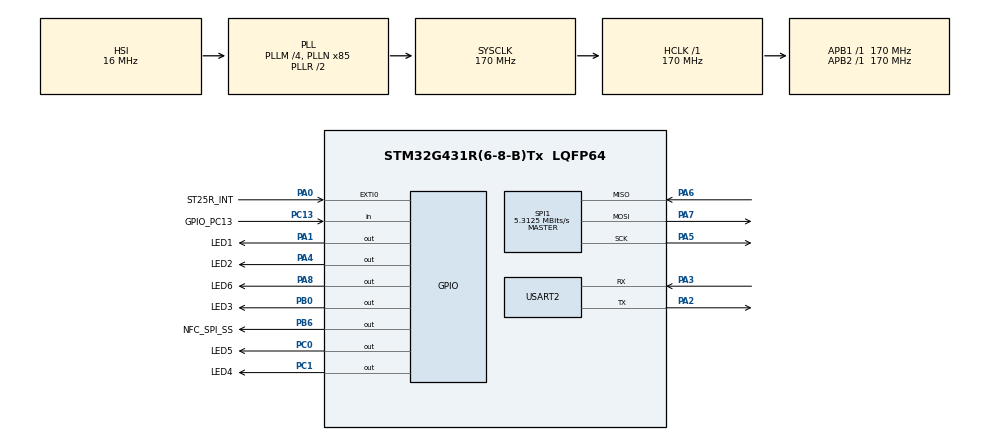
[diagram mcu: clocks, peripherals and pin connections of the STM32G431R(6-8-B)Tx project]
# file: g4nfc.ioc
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Mcu.Family=STM32G4
Mcu.Name=STM32G431R(6-8-B)Tx
Mcu.Package=LQFP64
NVIC.EXTI0_IRQn=true\:0\:0\:false\:false\:true\:true\:true
NVIC.PriorityGroup=NVIC_PRIORITYGROUP_4
NVIC.SPI1_IRQn=true\:0\:0\:false\:false\:true\:true\:true
PA0.GPIO_Label=ST25R_INT
PA0.GPIO_ModeDefaultEXTI=GPIO_MODE_IT_RISING
PA0.GPIO_PuPd=GPIO_PULLDOWN
PA0.Signal=GPXTI0
PA1.GPIO_Label=LED1
PA1.Signal=GPIO_Output
PA13.GPIO_Label=T_SWDIO
PA13.Mode=Serial_Wire
PA13.Signal=SYS_JTMS-SWDIO
PA14.GPIO_Label=T_SWCLK
PA14.Mode=Serial_Wire
PA14.Signal=SYS_JTCK-SWCLK
PA2.Mode=Asynchronous
PA2.Signal=USART2_TX
PA3.Mode=Asynchronous
PA3.Signal=USART2_RX
PA4.GPIO_Label=LED2
PA4.GPIO_ModeDefaultOutputPP=GPIO_MODE_OUTPUT_OD
PA4.Signal=GPIO_Output
PA5.Mode=Full_Duplex_Master
PA5.Signal=SPI1_SCK
PA6.GPIO_PuPd=GPIO_PULLUP
PA6.Mode=Full_Duplex_Master
PA6.Signal=SPI1_MISO
PA7.Mode=Full_Duplex_Master
PA7.Signal=SPI1_MOSI
PA8.GPIO_Label=LED6
PA8.Signal=GPIO_Output
PB0.GPIO_Label=LED3
PB0.Signal=GPIO_Output
PB3.GPIO_Label=T_SWO
PB3.Signal=SYS_JTDO-SWO
PB6.GPIO_Label=NFC_SPI_SS
PB6.PinState=GPIO_PIN_SET
PB6.Signal=GPIO_Output
PC0.GPIO_Label=LED5
PC0.Signal=GPIO_Output
PC1.GPIO_Label=LED4
PC1.Signal=GPIO_Output
PC13.GPIO_Label=GPIO_PC13
PC13.GPIO_PuPd=GPIO_PULLUP
PC13.Signal=GPIO_Input
PC14-OSC32_IN.Mode=LSE-External-Oscillator
PC14-OSC32_IN.Signal=RCC_OSC32_IN
PC15-OSC32_OUT.Mode=LSE-External-Oscillator
PC15-OSC32_OUT.Signal=RCC_OSC32_OUT
PF0-OSC_IN.Mode=HSE-External-Oscillator
PF0-OSC_IN.Signal=RCC_OSC_IN
PF1-OSC_OUT.Mode=HSE-External-Oscillator
PF1-OSC_OUT.Signal=RCC_OSC_OUT
ProjectManager.HeapSize=0x200
ProjectManager.StackSize=0x400
ProjectManager.TargetToolchain=STM32CubeIDE
RCC.ADC12Freq_Value=170000000
RCC.AHBFreq_Value=170000000
RCC.APB1Freq_Value=170000000
RCC.APB1TimFreq_Value=170000000
RCC.APB2Freq_Value=170000000
RCC.APB2TimFreq_Value=170000000
RCC.CortexFreq_Value=170000000
RCC.EXTERNAL_CLOCK_VALUE=12288000
RCC.HCLKFreq_Value=170000000
RCC.HSE_VALUE=24000000
RCC.HSI48_VALUE=48000000
RCC.HSI_VALUE=16000000
RCC.PLLM=RCC_PLLM_DIV4
RCC.PLLN=85
RCC.RTCClockSelection=RCC_RTCCLKSOURCE_LSE
RCC.SYSCLKFreq_VALUE=170000000
RCC.SYSCLKSource=RCC_SYSCLKSOURCE_PLLCLK
RCC.USBFreq_Value=170000000
RCC.VCOOutputFreq_Value=340000000
SPI1.BaudRatePrescaler=SPI_BAUDRATEPRESCALER_32
SPI1.CLKPhase=SPI_PHASE_2EDGE
SPI1.CalculateBaudRate=5.3125 MBits/s
SPI1.DataSize=SPI_DATASIZE_8BIT
SPI1.Direction=SPI_DIRECTION_2LINES
SPI1.Mode=SPI_MODE_MASTER
SPI1.VirtualType=VM_MASTER
USART2.VirtualMode-Asynchronous=VM_ASYNC
VP_SYS_VS_DBSignals.Mode=DisableDeadBatterySignals
board=NUCLEO-G431RB

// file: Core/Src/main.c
/* USER CODE BEGIN Header */
/**
  ******************************************************************************
  * @file           : main.c
  * @brief          : Main program body
  ******************************************************************************
  * @attention
  *
  * <h2><center>&copy; Copyright (c) 2021 STMicroelectronics.
  * All rights reserved.</center></h2>
  *
  * This software component is licensed by ST under BSD 3-Clause license,
  * the "License"; You may not use this file except in compliance with the
  * License. You may obtain a copy of the License at:
  *                        opensource.org/licenses/BSD-3-Clause
  *
  ******************************************************************************
  */
/* USER CODE END Header */
#include "main.h"

SPI_HandleTypeDef hspi1;

UART_HandleTypeDef huart2;

void SystemClock_Config(void);
static void MX_GPIO_Init(void);
static void MX_SPI1_Init(void);
static void MX_USART2_UART_Init(void);

/* USER CODE BEGIN 0 */
uint8_t globalCommProtectCnt = 0;
uint8_t capacitance = 0;
/* USER CODE END 0 */

int main(void)
{

  /* MCU Configuration--------------------------------------------------------*/

  /* Reset of all peripherals, Initializes the Flash interface and the Systick. */
  HAL_Init();

  /* Configure the system clock */
  SystemClock_Config();

  /* Initialize all configured peripherals */
  MX_GPIO_Init();
  MX_SPI1_Init();
  MX_USART2_UART_Init();
  /* USER CODE BEGIN 2 */
  logUsartInit(&huart2);
  if( !demoIni() )
  {
    /*
    * in case the rfal initalization failed signal it by flashing all LED
    * and stoping all operations
    */
    platformLog("Initialization failed..\r\n");
    while(1)
    {
      NFC06A1_LED_Toggle( TX_LED );
      NFC06A1_LED_Toggle( TA_LED );
      NFC06A1_LED_Toggle( TB_LED );
      NFC06A1_LED_Toggle( TF_LED );
      NFC06A1_LED_Toggle( TV_LED );
      NFC06A1_LED_Toggle( AP2P_LED );
      platformDelay(100);
    }
  }
  else
  {
    platformLog("Initialization succeeded..\r\n");
    for (int i = 0; i < 6; i++)
    {
      NFC06A1_LED_Toggle( TX_LED );
      platformDelay(50);
      NFC06A1_LED_Toggle( TA_LED );
      platformDelay(50);
      NFC06A1_LED_Toggle( TB_LED );
      platformDelay(50);
      NFC06A1_LED_Toggle( TF_LED );
      platformDelay(50);
      NFC06A1_LED_Toggle( TV_LED );
      platformDelay(50);
      NFC06A1_LED_Toggle( AP2P_LED );
      platformDelay(50);
    }

    NFC06A1_LED_OFF( TA_LED );
    NFC06A1_LED_OFF( TB_LED );
    NFC06A1_LED_OFF( TF_LED );
    NFC06A1_LED_OFF( TV_LED );
    NFC06A1_LED_OFF( AP2P_LED );
    NFC06A1_LED_OFF( TX_LED );
  }

  /* USER CODE END 2 */

  /* Infinite loop */
  /* USER CODE BEGIN WHILE */
  while (1)
  {
	    demoCycle();
	    st25r3916MeasureCapacitance(&capacitance);

    /* USER CODE END WHILE */

  }
}

void SystemClock_Config(void)
{
  RCC_OscInitTypeDef RCC_OscInitStruct = {0};
  RCC_ClkInitTypeDef RCC_ClkInitStruct = {0};
  RCC_PeriphCLKInitTypeDef PeriphClkInit = {0};

  /** Configure the main internal regulator output voltage
  */
  HAL_PWREx_ControlVoltageScaling(PWR_REGULATOR_VOLTAGE_SCALE1_BOOST);
  /** Initializes the RCC Oscillators according to the specified parameters
  * in the RCC_OscInitTypeDef structure.
  */
  RCC_OscInitStruct.OscillatorType = RCC_OSCILLATORTYPE_HSI;
  RCC_OscInitStruct.HSIState = RCC_HSI_ON;
  RCC_OscInitStruct.HSICalibrationValue = RCC_HSICALIBRATION_DEFAULT;
  RCC_OscInitStruct.PLL.PLLState = RCC_PLL_ON;
  RCC_OscInitStruct.PLL.PLLSource = RCC_PLLSOURCE_HSI;
  RCC_OscInitStruct.PLL.PLLM = RCC_PLLM_DIV4;
  RCC_OscInitStruct.PLL.PLLN = 85;
  RCC_OscInitStruct.PLL.PLLP = RCC_PLLP_DIV2;
  RCC_OscInitStruct.PLL.PLLQ = RCC_PLLQ_DIV2;
  RCC_OscInitStruct.PLL.PLLR = RCC_PLLR_DIV2;
  if (HAL_RCC_OscConfig(&RCC_OscInitStruct) != HAL_OK)
  {
    Error_Handler();
  }
  /** Initializes the CPU, AHB and APB buses clocks
  */
  RCC_ClkInitStruct.ClockType = RCC_CLOCKTYPE_HCLK|RCC_CLOCKTYPE_SYSCLK
                              |RCC_CLOCKTYPE_PCLK1|RCC_CLOCKTYPE_PCLK2;
  RCC_ClkInitStruct.SYSCLKSource = RCC_SYSCLKSOURCE_PLLCLK;
  RCC_ClkInitStruct.AHBCLKDivider = RCC_SYSCLK_DIV1;
  RCC_ClkInitStruct.APB1CLKDivider = RCC_HCLK_DIV1;
  RCC_ClkInitStruct.APB2CLKDivider = RCC_HCLK_DIV1;

  if (HAL_RCC_ClockConfig(&RCC_ClkInitStruct, FLASH_LATENCY_4) != HAL_OK)
  {
    Error_Handler();
  }
  /** Initializes the peripherals clocks
  */
  PeriphClkInit.PeriphClockSelection = RCC_PERIPHCLK_USART2;
  PeriphClkInit.Usart2ClockSelection = RCC_USART2CLKSOURCE_PCLK1;
  if (HAL_RCCEx_PeriphCLKConfig(&PeriphClkInit) != HAL_OK)
  {
    Error_Handler();
  }
}

static void MX_SPI1_Init(void)
{

  /* SPI1 parameter configuration*/
  hspi1.Instance = SPI1;
  hspi1.Init.Mode = SPI_MODE_MASTER;
  hspi1.Init.Direction = SPI_DIRECTION_2LINES;
  hspi1.Init.DataSize = SPI_DATASIZE_8BIT;
  hspi1.Init.CLKPolarity = SPI_POLARITY_LOW;
  hspi1.Init.CLKPhase = SPI_PHASE_2EDGE;
  hspi1.Init.NSS = SPI_NSS_SOFT;
  hspi1.Init.BaudRatePrescaler = SPI_BAUDRATEPRESCALER_32;
  hspi1.Init.FirstBit = SPI_FIRSTBIT_MSB;
  hspi1.Init.TIMode = SPI_TIMODE_DISABLE;
  hspi1.Init.CRCCalculation = SPI_CRCCALCULATION_DISABLE;
  hspi1.Init.CRCPolynomial = 7;
  hspi1.Init.CRCLength = SPI_CRC_LENGTH_DATASIZE;
  hspi1.Init.NSSPMode = SPI_NSS_PULSE_DISABLE;
  if (HAL_SPI_Init(&hspi1) != HAL_OK)
  {
    Error_Handler();
  }

}

static void MX_USART2_UART_Init(void)
{

  huart2.Instance = USART2;
  huart2.Init.BaudRate = 115200;
  huart2.Init.WordLength = UART_WORDLENGTH_8B;
  huart2.Init.StopBits = UART_STOPBITS_1;
  huart2.Init.Parity = UART_PARITY_NONE;
  huart2.Init.Mode = UART_MODE_TX_RX;
  huart2.Init.HwFlowCtl = UART_HWCONTROL_NONE;
  huart2.Init.OverSampling = UART_OVERSAMPLING_16;
  huart2.Init.OneBitSampling = UART_ONE_BIT_SAMPLE_DISABLE;
  huart2.Init.ClockPrescaler = UART_PRESCALER_DIV1;
  huart2.AdvancedInit.AdvFeatureInit = UART_ADVFEATURE_NO_INIT;
  if (HAL_UART_Init(&huart2) != HAL_OK)
  {
    Error_Handler();
  }
  if (HAL_UARTEx_SetTxFifoThreshold(&huart2, UART_TXFIFO_THRESHOLD_1_8) != HAL_OK)
  {
    Error_Handler();
  }
  if (HAL_UARTEx_SetRxFifoThreshold(&huart2, UART_RXFIFO_THRESHOLD_1_8) != HAL_OK)
  {
    Error_Handler();
  }
  if (HAL_UARTEx_DisableFifoMode(&huart2) != HAL_OK)
  {
    Error_Handler();
  }

}

static void MX_GPIO_Init(void)
{
  GPIO_InitTypeDef GPIO_InitStruct = {0};

  /* GPIO Ports Clock Enable */
  __HAL_RCC_GPIOC_CLK_ENABLE();
  __HAL_RCC_GPIOF_CLK_ENABLE();
  __HAL_RCC_GPIOA_CLK_ENABLE();
  __HAL_RCC_GPIOB_CLK_ENABLE();

  /*Configure GPIO pin Output Level */
  HAL_GPIO_WritePin(GPIOC, LED5_Pin|LED4_Pin, GPIO_PIN_RESET);

  /*Configure GPIO pin Output Level */
  HAL_GPIO_WritePin(GPIOA, LED1_Pin|LED2_Pin|LED6_Pin, GPIO_PIN_RESET);

  /*Configure GPIO pin Output Level */
  HAL_GPIO_WritePin(LED3_GPIO_Port, LED3_Pin, GPIO_PIN_RESET);

  /*Configure GPIO pin Output Level */
  HAL_GPIO_WritePin(NFC_SPI_SS_GPIO_Port, NFC_SPI_SS_Pin, GPIO_PIN_SET);

  /*Configure GPIO pin : GPIO_PC13_Pin */
  GPIO_InitStruct.Pin = GPIO_PC13_Pin;
  GPIO_InitStruct.Mode = GPIO_MODE_INPUT;
  GPIO_InitStruct.Pull = GPIO_PULLUP;
  HAL_GPIO_Init(GPIO_PC13_GPIO_Port, &GPIO_InitStruct);

  /*Configure GPIO pins : LED5_Pin LED4_Pin */
  GPIO_InitStruct.Pin = LED5_Pin|LED4_Pin;
  GPIO_InitStruct.Mode = GPIO_MODE_OUTPUT_PP;
  GPIO_InitStruct.Pull = GPIO_NOPULL;
  GPIO_InitStruct.Speed = GPIO_SPEED_FREQ_LOW;
  HAL_GPIO_Init(GPIOC, &GPIO_InitStruct);

  /*Configure GPIO pin : ST25R_INT_Pin */
  GPIO_InitStruct.Pin = ST25R_INT_Pin;
  GPIO_InitStruct.Mode = GPIO_MODE_IT_RISING;
  GPIO_InitStruct.Pull = GPIO_PULLDOWN;
  HAL_GPIO_Init(ST25R_INT_GPIO_Port, &GPIO_InitStruct);

  /*Configure GPIO pins : LED1_Pin LED6_Pin */
  GPIO_InitStruct.Pin = LED1_Pin|LED6_Pin;
  GPIO_InitStruct.Mode = GPIO_MODE_OUTPUT_PP;
  GPIO_InitStruct.Pull = GPIO_NOPULL;
  GPIO_InitStruct.Speed = GPIO_SPEED_FREQ_LOW;
  HAL_GPIO_Init(GPIOA, &GPIO_InitStruct);

  /*Configure GPIO pin : LED2_Pin */
  GPIO_InitStruct.Pin = LED2_Pin;
  GPIO_InitStruct.Mode = GPIO_MODE_OUTPUT_OD;
  GPIO_InitStruct.Pull = GPIO_NOPULL;
  GPIO_InitStruct.Speed = GPIO_SPEED_FREQ_LOW;
  HAL_GPIO_Init(LED2_GPIO_Port, &GPIO_InitStruct);

  /*Configure GPIO pins : LED3_Pin NFC_SPI_SS_Pin */
  GPIO_InitStruct.Pin = LED3_Pin|NFC_SPI_SS_Pin;
  GPIO_InitStruct.Mode = GPIO_MODE_OUTPUT_PP;
  GPIO_InitStruct.Pull = GPIO_NOPULL;
  GPIO_InitStruct.Speed = GPIO_SPEED_FREQ_LOW;
  HAL_GPIO_Init(GPIOB, &GPIO_InitStruct);

  /* EXTI interrupt init*/
  HAL_NVIC_SetPriority(EXTI0_IRQn, 0, 0);
  HAL_NVIC_EnableIRQ(EXTI0_IRQn);

}

void Error_Handler(void)
{
  __disable_irq();
  while (1)
  {
  }
}

/************************ (C) COPYRIGHT STMicroelectronics *****END OF FILE****/
